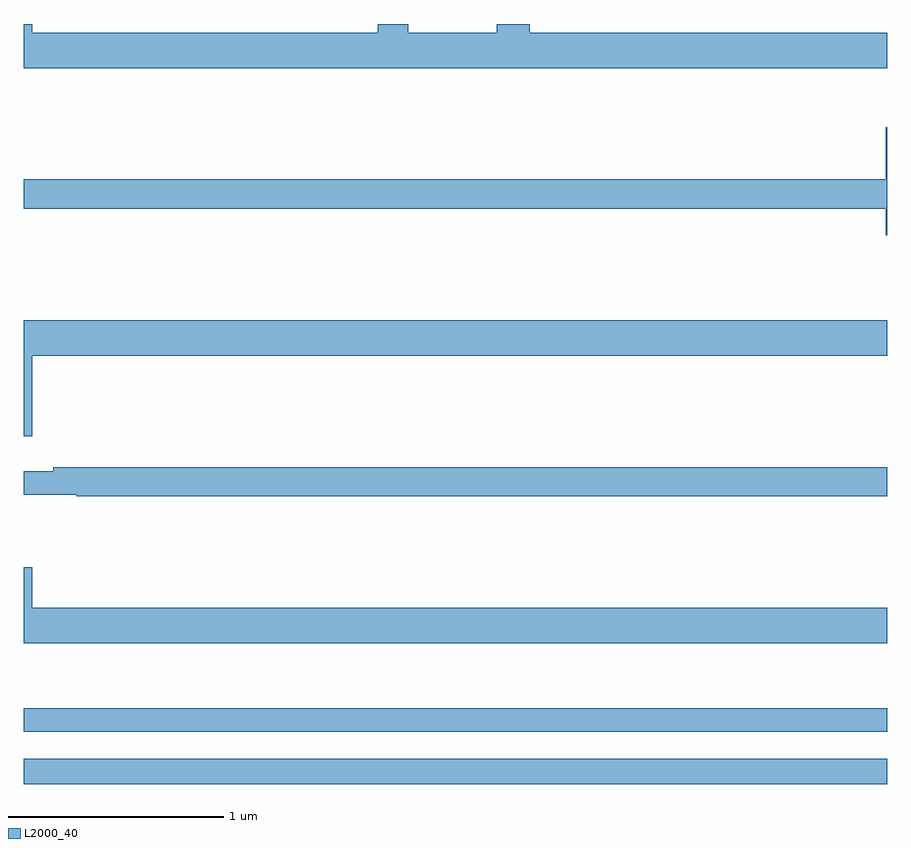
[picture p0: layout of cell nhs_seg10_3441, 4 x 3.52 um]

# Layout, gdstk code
import gdstk
lib = gdstk.Library(unit=1e-6, precision=1e-09)
def R(c, l, rs):  # rectangles x0, y0, x1, y1
    for r in rs: c.add(gdstk.rectangle(r[:2], r[2:], *l))
def P(c, l, *ps):  # polygons
    for p in ps: c.add(gdstk.Polygon(p, *l))
L2000_40 = (2000, 40)

nhs_seg10_3441 = lib.new_cell('nhs_seg10_3441')
R(nhs_seg10_3441, L2000_40, [(297,1316.98,301,1317.096), (297,1317.222,301,1317.331)])
P(nhs_seg10_3441, L2000_40, [(301,1320.46),(299.345,1320.46),(299.345,1320.5),(299.192,1320.5),(299.192,1320.46),(298.78,1320.46),(298.78,1320.5),(298.64,1320.5),(298.64,1320.46),(297.04,1320.46),(297.04,1320.5),(297,1320.5),(297,1320.296),(301,1320.296)],
  [(301,1320.021),(300.992,1320.021),(300.992,1319.78),(297,1319.78),(297,1319.644),(300.992,1319.644),(300.992,1319.522),(301,1319.522)],
  [(297.04,1318.964),(301,1318.964),(301,1319.128),(297,1319.128),(297,1318.59),(297.04,1318.59)],
  [(301,1318.448),(297.136,1318.448),(297.136,1318.429),(297,1318.429),(297,1318.32),(297.245,1318.32),(297.245,1318.312),(301,1318.312)],
  [(301,1317.796),(297.04,1317.796),(297.04,1317.985),(297,1317.985),(297,1317.632),(301,1317.632)])

lib.write_gds('nhs_seg10_3441.gds')
